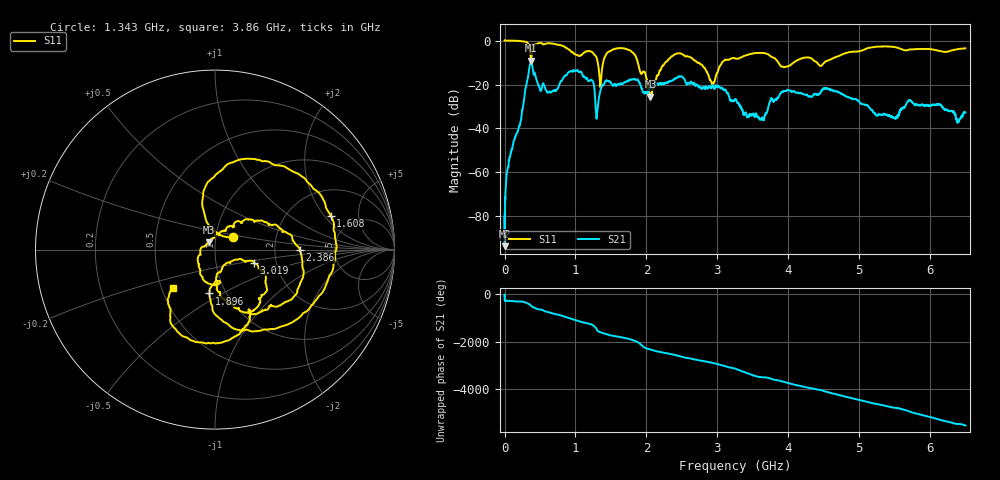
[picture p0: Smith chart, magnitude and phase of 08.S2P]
!Keysight Technologies,E5063A,MY54503115,A.05.08
!Date: Mon Dec 11 13:45:52 2023
!Data & Calibration Information:
!Freq	S11:NONE(--)	S21:NONE(--)	S12:NONE(--)	S22:NONE(--)
# Hz S dB R 50
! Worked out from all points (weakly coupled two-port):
!   10001 points, 100 kHz to 6.5 GHz, reference 50 ohm
!   highest |S21| = -9.15 dB at 372.5 MHz (marker M1); lowest = -93.5 dB at 100 kHz (marker M2)
!   lowest |S11| = -25.5 dB at 2.057 GHz (marker M3), VSWR 1.11, Z = 46.5 + j3.76 ohm
!   |S11| at or under -10 dB: 1.878 GHz to 2.268 GHz (389.4 MHz wide, 18.8 % of centre); 2.718 GHz to 3.065 GHz (346.5 MHz wide, 12 % of centre); 3.86 GHz to 4.079 GHz (218.7 MHz wide, 5.51 % of centre) (the widest 3 of 5)
!   S12 and S22 are empty: the file has one direction only
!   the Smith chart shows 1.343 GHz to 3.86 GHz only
!   S11 on the Smith chart (normalised r, x): 1.343 GHz: 1.21, +0.17; 1.608 GHz: 3.41, +2.32; 1.896 GHz: 0.84, -0.43; 2.386 GHz: 2.79, -0.02; 3.019 GHz: 1.54, -0.23; 3.86 GHz: 0.57, -0.27
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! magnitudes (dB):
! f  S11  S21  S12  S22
! 100 kHz  0.0  -93.5  -  -
! 59.25 MHz  0.0  -54.4  -  -
! 372.5 MHz  -8.9  -9.1  -  -
! 626.7 MHz  -1.2  -23.4  -  -
! 1.084 GHz  -6.6  -14.5  -  -
! 1.236 GHz  -5.3  -18.1  -  -
! 1.302 GHz  -8.3  -34.0  -  -
! 1.343 GHz  -18.2  -23.8  -  -
! 1.608 GHz  -3.5  -20.1  -  -
! 1.896 GHz  -12.2  -19.0  -  -
! 2.057 GHz  -25.5  -21.0  -  -
! 2.167 GHz  -15.6  -20.1  -  -
! 2.386 GHz  -6.5  -17.7  -  -
! 2.931 GHz  -19.9  -20.6  -  -
! 3.019 GHz  -12.8  -20.9  -  -
! 3.25 GHz  -8.1  -26.8  -  -
! 3.628 GHz  -5.6  -35.9  -  -
! 3.86 GHz  -10.0  -25.7  -  -
! 4.334 GHz  -8.3  -25.6  -  -
! 5.417 GHz  -2.7  -34.2  -  -
! 5.712 GHz  -4.0  -27.2  -  -
! 6.5 GHz  -3.5  -32.7  -  -
